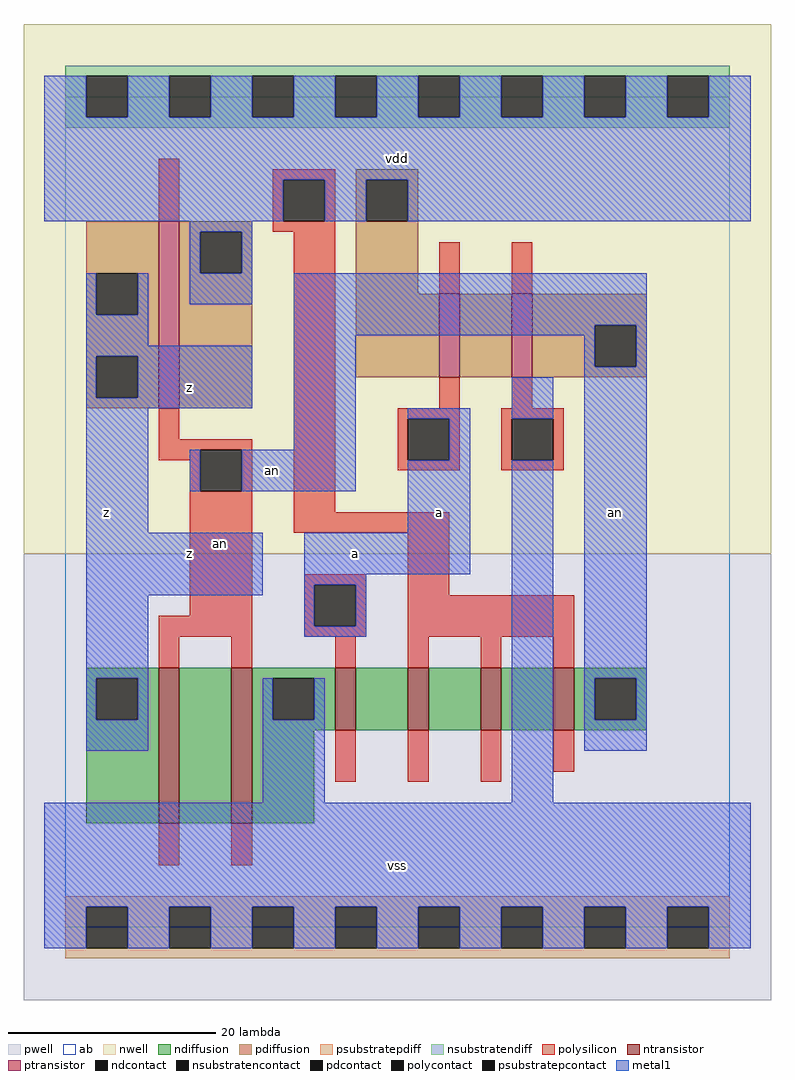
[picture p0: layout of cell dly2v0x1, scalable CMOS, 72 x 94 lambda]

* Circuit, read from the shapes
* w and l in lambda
.subckt dly2v0x1 a an vdd vss z
M1 n1 an z vss nfet w=15 l=2
M2 vss an n1 vss nfet w=15 l=2
M3 n2 a vss vss nfet w=6 l=2
M4 n3 vdd n2 vss nfet w=6 l=2
M5 n4 vdd n3 vss nfet w=6 l=2
M6 an vdd n4 vss nfet w=6 l=2
M7 vdd an z vdd pfet w=18 l=2
M8 n5 a vdd vdd pfet w=8 l=2
M9 an vss n5 vdd pfet w=8 l=2
.ends

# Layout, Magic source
magic
tech scmos
<< ab >>
rect 0 0 64 80
<< pwell >>
rect -4 -7 68 36
<< nwell >>
rect -4 36 68 87
<< polysilicon >>
rect 9 68 11 74
rect 20 72 26 73
rect 20 68 21 72
rect 25 68 26 72
rect 20 67 26 68
rect 9 47 11 50
rect 9 46 18 47
rect 9 45 13 46
rect 12 42 13 45
rect 17 42 18 46
rect 12 30 18 42
rect 22 40 26 67
rect 36 61 38 66
rect 43 61 45 66
rect 36 50 38 53
rect 43 50 45 53
rect 32 49 38 50
rect 32 45 33 49
rect 37 45 38 49
rect 32 44 38 45
rect 42 49 48 50
rect 42 45 43 49
rect 47 45 48 49
rect 42 44 48 45
rect 22 38 37 40
rect 9 28 18 30
rect 23 33 29 34
rect 23 29 24 33
rect 28 29 29 33
rect 23 28 29 29
rect 33 32 37 38
rect 33 28 49 32
rect 9 25 11 28
rect 16 25 18 28
rect 26 25 28 28
rect 33 25 35 28
rect 40 25 42 28
rect 47 25 49 28
rect 26 14 28 19
rect 33 14 35 19
rect 40 14 42 19
rect 47 15 49 19
rect 9 6 11 10
rect 16 6 18 10
<< ndiffusion >>
rect 2 24 9 25
rect 2 20 3 24
rect 7 20 9 24
rect 2 10 9 20
rect 11 10 16 25
rect 18 24 26 25
rect 18 20 20 24
rect 24 20 26 24
rect 18 19 26 20
rect 28 19 33 25
rect 35 19 40 25
rect 42 19 47 25
rect 49 24 56 25
rect 49 20 51 24
rect 55 20 56 24
rect 49 19 56 20
rect 18 10 24 19
<< pdiffusion >>
rect 2 63 9 68
rect 2 59 3 63
rect 7 59 9 63
rect 2 55 9 59
rect 2 51 3 55
rect 7 51 9 55
rect 2 50 9 51
rect 11 67 18 68
rect 11 63 13 67
rect 17 63 18 67
rect 11 50 18 63
rect 28 72 34 73
rect 28 68 29 72
rect 33 68 34 72
rect 28 61 34 68
rect 28 53 36 61
rect 38 53 43 61
rect 45 58 56 61
rect 45 54 51 58
rect 55 54 56 58
rect 45 53 56 54
<< metal1 >>
rect -2 78 2 82
rect 6 78 10 82
rect 14 78 18 82
rect 22 78 26 82
rect 30 78 34 82
rect 38 78 42 82
rect 46 78 50 82
rect 54 78 58 82
rect 62 78 66 82
rect -2 72 66 78
rect -2 68 21 72
rect 25 68 29 72
rect 33 68 66 72
rect 12 67 18 68
rect 12 63 13 67
rect 17 63 18 67
rect 2 59 3 63
rect 7 59 8 63
rect 12 60 18 63
rect 2 56 8 59
rect 22 58 56 63
rect 22 57 51 58
rect 2 55 18 56
rect 2 51 3 55
rect 7 51 18 55
rect 2 50 18 51
rect 2 38 8 50
rect 22 46 28 57
rect 50 54 51 57
rect 55 54 56 58
rect 12 42 13 46
rect 17 42 28 46
rect 33 49 39 50
rect 37 45 39 49
rect 33 38 39 45
rect 2 32 19 38
rect 23 34 39 38
rect 43 49 47 53
rect 23 33 29 34
rect 2 24 8 32
rect 23 29 24 33
rect 28 29 29 33
rect 23 28 29 29
rect 2 20 3 24
rect 7 20 8 24
rect 2 17 8 20
rect 19 20 20 24
rect 24 20 25 24
rect 19 12 25 20
rect 43 12 47 45
rect 50 24 56 54
rect 50 20 51 24
rect 55 20 56 24
rect 50 17 56 20
rect -2 2 66 12
rect -2 -2 2 2
rect 6 -2 10 2
rect 14 -2 18 2
rect 22 -2 26 2
rect 30 -2 34 2
rect 38 -2 42 2
rect 46 -2 50 2
rect 54 -2 58 2
rect 62 -2 66 2
<< ntransistor >>
rect 9 10 11 25
rect 16 10 18 25
rect 26 19 28 25
rect 33 19 35 25
rect 40 19 42 25
rect 47 19 49 25
<< ptransistor >>
rect 9 50 11 68
rect 36 53 38 61
rect 43 53 45 61
<< polycontact >>
rect 21 68 25 72
rect 13 42 17 46
rect 33 45 37 49
rect 43 45 47 49
rect 24 29 28 33
<< ndcontact >>
rect 3 20 7 24
rect 20 20 24 24
rect 51 20 55 24
<< pdcontact >>
rect 3 59 7 63
rect 3 51 7 55
rect 13 63 17 67
rect 29 68 33 72
rect 51 54 55 58
<< psubstratepcontact >>
rect 2 -2 6 2
rect 10 -2 14 2
rect 18 -2 22 2
rect 26 -2 30 2
rect 34 -2 38 2
rect 42 -2 46 2
rect 50 -2 54 2
rect 58 -2 62 2
<< nsubstratencontact >>
rect 2 78 6 82
rect 10 78 14 82
rect 18 78 22 82
rect 26 78 30 82
rect 34 78 38 82
rect 42 78 46 82
rect 50 78 54 82
rect 58 78 62 82
<< psubstratepdiff >>
rect 0 2 64 3
rect 0 -2 2 2
rect 6 -2 10 2
rect 14 -2 18 2
rect 22 -2 26 2
rect 30 -2 34 2
rect 38 -2 42 2
rect 46 -2 50 2
rect 54 -2 58 2
rect 62 -2 64 2
rect 0 -3 64 -2
<< nsubstratendiff >>
rect 0 82 64 83
rect 0 78 2 82
rect 6 78 10 82
rect 14 78 18 82
rect 22 78 26 82
rect 30 78 34 82
rect 38 78 42 82
rect 46 78 50 82
rect 54 78 58 82
rect 62 78 64 82
rect 0 77 64 78
<< labels >>
rlabel polysilicon 15 37 15 37 6 an
rlabel metal1 12 36 12 36 6 z
rlabel metal1 4 40 4 40 6 z
rlabel metal1 12 52 12 52 6 z
rlabel metal1 28 36 28 36 6 a
rlabel metal1 20 44 20 44 6 an
rlabel metal1 32 6 32 6 6 vss
rlabel metal1 36 40 36 40 6 a
rlabel metal1 32 74 32 74 6 vdd
rlabel metal1 53 40 53 40 6 an
<< end >>
